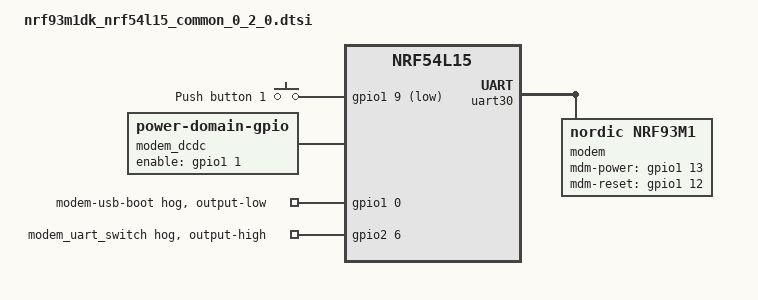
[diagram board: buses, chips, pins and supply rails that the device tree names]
/*
 * Copyright (c) 2026 Nordic Semiconductor ASA
 *
 * SPDX-License-Identifier: Apache-2.0
 */

#include "nrf93m1dk_nrf54l15_common.dtsi"

/ {
	buttons {
		button1: button_1 {
			gpios = <&gpio1 9 (GPIO_PULL_UP | GPIO_ACTIVE_LOW)>;
			label = "Push button 1";
			zephyr,code = <INPUT_KEY_1>;
		};
	};

	modem_dcdc: modem_dcdc {
		compatible = "power-domain-gpio";
		enable-gpios = <&gpio1 1 GPIO_ACTIVE_HIGH>;
		#power-domain-cells = <0>;
		startup-delay-us = <100000>; /* wait for 100ms to stabilize dcdc supply */
		off-on-delay-us = <500000>; /* wait for 500ms to stabilize main supply */
	};

	aliases {
		sw1 = &button1;
	};
};

&gpio1 {
	status = "okay";

	modem-usb-boot {
		gpio-hog;
		gpios = <0 GPIO_ACTIVE_HIGH>;
		output-low;
	};
};

&gpio2 {
	status = "okay";

	modem_uart_switch: modem-uart-switch {
		gpio-hog;
		gpios = <6 GPIO_ACTIVE_HIGH>;
		output-high;
	};
};

&uart30 {
	modem: modem {
		compatible = "nordic,nrf93m1";
		power-domains = <&modem_dcdc>;
		mdm-power-gpios = <&gpio1 13 GPIO_ACTIVE_HIGH>;
		mdm-reset-gpios = <&gpio1 12 GPIO_ACTIVE_HIGH>;
	};
};
